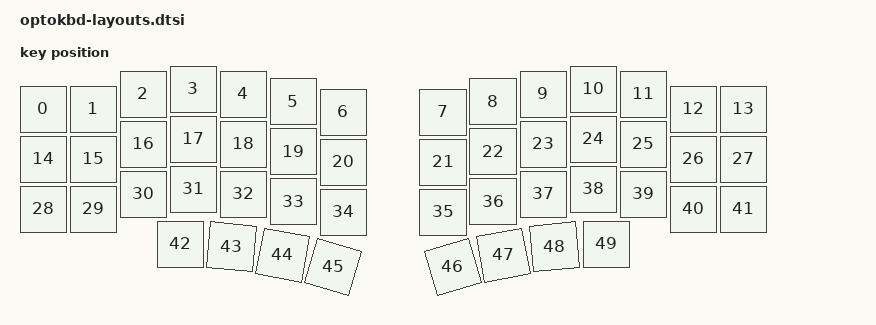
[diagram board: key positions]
/*
 * Physical layout of optokbd, converted from layout/keyboard-layout.json
 * (KLE) in https://github.com/hhiroshell/optokbd (v0.2.0). Units are 1/100 key
 * unit and 1/100 degree. Keys are listed in keymap order (see
 * matrix_transform0 in optokbd.dtsi), not in the KLE file's order.
 */

#include <physical_layouts.dtsi>

/ {
    physical_layout0: physical_layout_0 {
        compatible = "zmk,physical-layout";
        display-name = "Default";

        keys  //                     w   h     x     y     rot    rx    ry
            = <&key_physical_attrs 100 100     0    40       0     0     0>
            , <&key_physical_attrs 100 100   100    40       0     0     0>
            , <&key_physical_attrs 100 100   200    10       0     0     0>
            , <&key_physical_attrs 100 100   300     0       0     0     0>
            , <&key_physical_attrs 100 100   400    10       0     0     0>
            , <&key_physical_attrs 100 100   500    25       0     0     0>
            , <&key_physical_attrs 100 100   600    46       0     0     0>
            , <&key_physical_attrs 100 100   800    46       0     0     0>
            , <&key_physical_attrs 100 100   900    25       0     0     0>
            , <&key_physical_attrs 100 100  1000    10       0     0     0>
            , <&key_physical_attrs 100 100  1100     0       0     0     0>
            , <&key_physical_attrs 100 100  1200    10       0     0     0>
            , <&key_physical_attrs 100 100  1300    40       0     0     0>
            , <&key_physical_attrs 100 100  1400    40       0     0     0>
            , <&key_physical_attrs 100 100     0   140       0     0     0>
            , <&key_physical_attrs 100 100   100   140       0     0     0>
            , <&key_physical_attrs 100 100   200   110       0     0     0>
            , <&key_physical_attrs 100 100   300   100       0     0     0>
            , <&key_physical_attrs 100 100   400   110       0     0     0>
            , <&key_physical_attrs 100 100   500   125       0     0     0>
            , <&key_physical_attrs 100 100   600   146       0     0     0>
            , <&key_physical_attrs 100 100   800   146       0     0     0>
            , <&key_physical_attrs 100 100   900   125       0     0     0>
            , <&key_physical_attrs 100 100  1000   110       0     0     0>
            , <&key_physical_attrs 100 100  1100   100       0     0     0>
            , <&key_physical_attrs 100 100  1200   110       0     0     0>
            , <&key_physical_attrs 100 100  1300   140       0     0     0>
            , <&key_physical_attrs 100 100  1400   140       0     0     0>
            , <&key_physical_attrs 100 100     0   240       0     0     0>
            , <&key_physical_attrs 100 100   100   240       0     0     0>
            , <&key_physical_attrs 100 100   200   210       0     0     0>
            , <&key_physical_attrs 100 100   300   200       0     0     0>
            , <&key_physical_attrs 100 100   400   210       0     0     0>
            , <&key_physical_attrs 100 100   500   225       0     0     0>
            , <&key_physical_attrs 100 100   600   246       0     0     0>
            , <&key_physical_attrs 100 100   800   246       0     0     0>
            , <&key_physical_attrs 100 100   900   225       0     0     0>
            , <&key_physical_attrs 100 100  1000   210       0     0     0>
            , <&key_physical_attrs 100 100  1100   200       0     0     0>
            , <&key_physical_attrs 100 100  1200   210       0     0     0>
            , <&key_physical_attrs 100 100  1300   240       0     0     0>
            , <&key_physical_attrs 100 100  1400   240       0     0     0>
            , <&key_physical_attrs 100 100   274   310       0     0     0>
            , <&key_physical_attrs 100 100   410   273     550     0     0>
            , <&key_physical_attrs 100 100   543   224    1100     0     0>
            , <&key_physical_attrs 100 100   670   160    1650     0     0>
            , <&key_physical_attrs 100 100   730   160 (-1650)  1500     0>
            , <&key_physical_attrs 100 100   857   224 (-1100)  1500     0>
            , <&key_physical_attrs 100 100   990   273  (-550)  1500     0>
            , <&key_physical_attrs 100 100  1126   310       0     0     0>
            ;
    };
};
